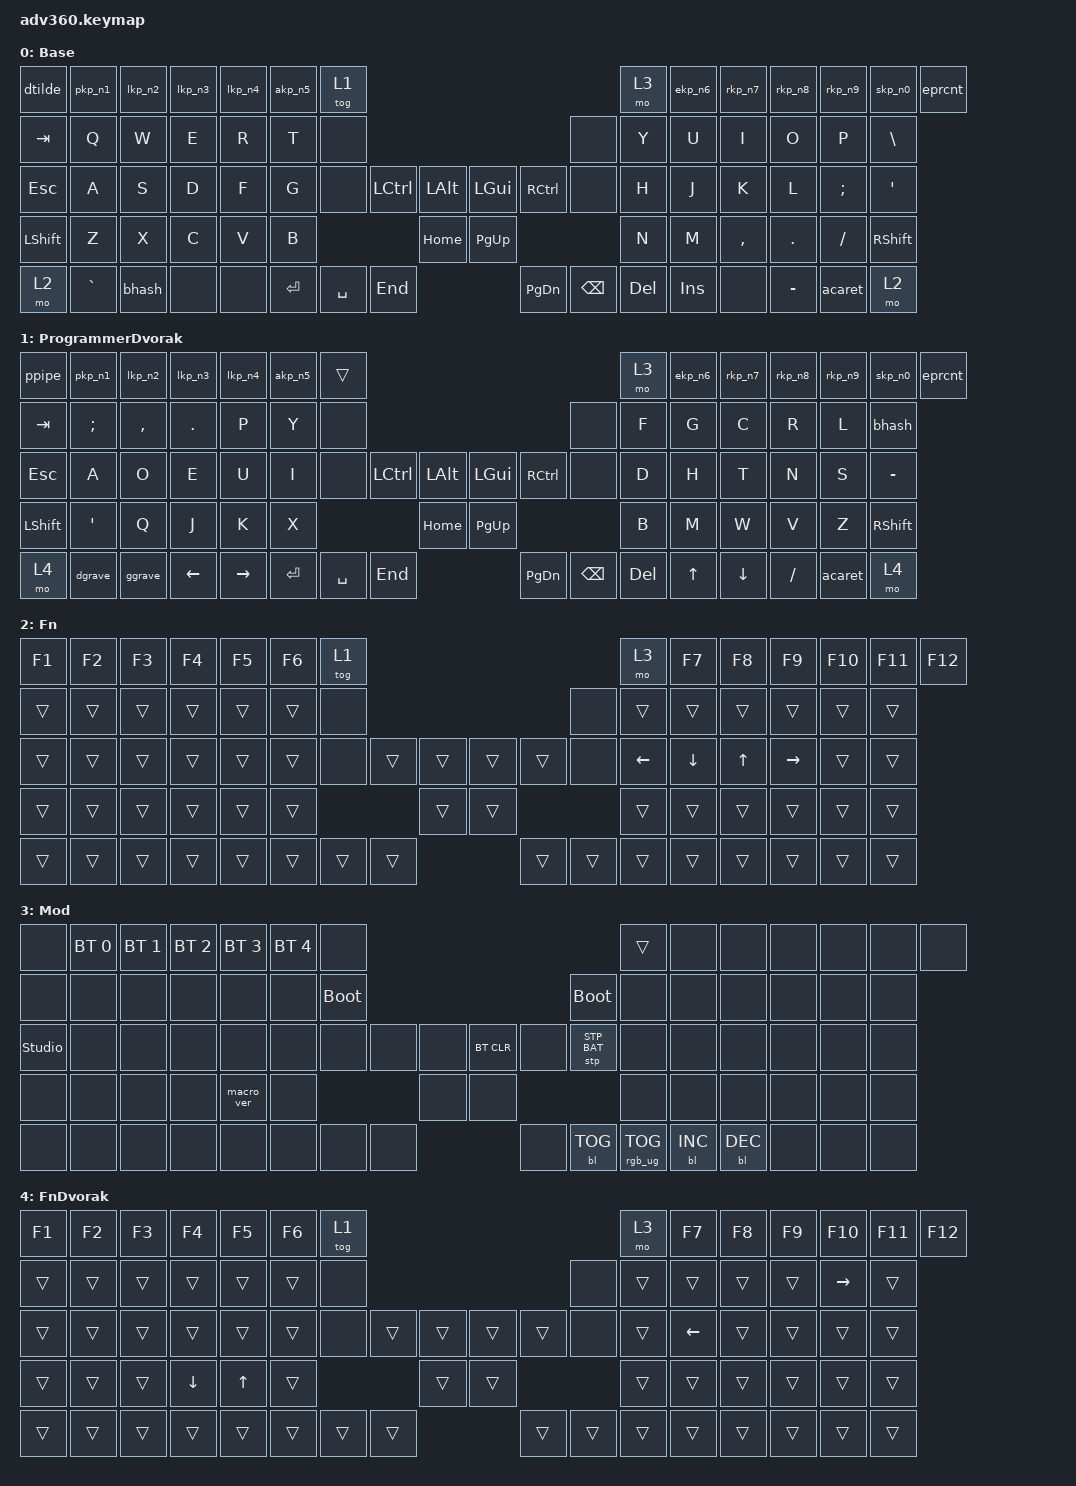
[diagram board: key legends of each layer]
#include <behaviors.dtsi>
#include <dt-bindings/zmk/keys.h>
#include <dt-bindings/zmk/bt.h>
#include <dt-bindings/zmk/rgb.h>
#include <dt-bindings/zmk/stp.h>
#include <dt-bindings/zmk/backlight.h>
#include <dt-bindings/zmk/pointing.h>

/ {
    behaviors {
        #include "macros.dtsi"
        #include "version.dtsi"

        hm: homerow_mods {
            compatible = "zmk,behavior-hold-tap";
            label = "HOMEROW_MODS";
            #binding-cells = <2>;
            tapping-term-ms = <200>;
            quick_tap_ms = <175>;
            flavor = "tap-preferred";
            bindings = <&kp>, <&kp>;
        };
        gpipe: grave_pipe {
            compatible = "zmk,behavior-mod-morph";
            label = "grave_pipe";
            #binding-cells = <0>;
            bindings = <&kp GRAVE>, <&kp PIPE>;
            mods = <(MOD_LGUI|MOD_LSFT|MOD_RGUI|MOD_RSFT)>;
        };
        ppipe: pipe_pipe {
            compatible = "zmk,behavior-mod-morph";
            label = "pipe_pipe";
            #binding-cells = <0>;
            bindings = <&kp PIPE>, <&kp PIPE>;
            mods = <(MOD_LGUI|MOD_LSFT|MOD_RGUI|MOD_RSFT)>;
        };
        pkp_n1: plus_kp_n1 {
            compatible = "zmk,behavior-mod-morph";
            label = "plus_kp_n1";
            #binding-cells = <0>;
            bindings = <&kp PLUS>, <&kp KP_N1>;
            mods = <(MOD_LGUI|MOD_LSFT|MOD_RGUI|MOD_RSFT)>;
        };
        lkp_n2: left_bracket_kp_n2 {
            compatible = "zmk,behavior-mod-morph";
            label = "left_bracket_kp_n2";
            #binding-cells = <0>;
            bindings = <&kp LEFT_BRACKET>, <&kp KP_N2>;
            mods = <(MOD_LGUI|MOD_LSFT|MOD_RGUI|MOD_RSFT)>;
        };
        lkp_n3: left_brace_kp_n3 {
            compatible = "zmk,behavior-mod-morph";
            label = "left_brace_kp_n3";
            #binding-cells = <0>;
            bindings = <&kp LEFT_BRACE>, <&kp KP_N3>;
            mods = <(MOD_LGUI|MOD_LSFT|MOD_RGUI|MOD_RSFT)>;
        };
        lkp_n4: left_parenthesis_kp_n4 {
            compatible = "zmk,behavior-mod-morph";
            label = "left_parenthesis_kp_n4";
            #binding-cells = <0>;
            bindings = <&kp LEFT_PARENTHESIS>, <&kp KP_N4>;
            mods = <(MOD_LGUI|MOD_LSFT|MOD_RGUI|MOD_RSFT)>;
        };
        akp_n5: amps_kp_n5 {
            compatible = "zmk,behavior-mod-morph";
            label = "amps_kp_n5";
            #binding-cells = <0>;
            bindings = <&kp AMPS>, <&kp KP_N5>;
            mods = <(MOD_LGUI|MOD_LSFT|MOD_RGUI|MOD_RSFT)>;
        };
        ekp_n6: equal_kp_n6 {
            compatible = "zmk,behavior-mod-morph";
            label = "equal_kp_n6";
            #binding-cells = <0>;
            bindings = <&kp EQUAL>, <&kp KP_N6>;
            mods = <(MOD_LGUI|MOD_LSFT|MOD_RGUI|MOD_RSFT)>;
        };
        rkp_n7: right_parenthesis_kp_n7 {
            compatible = "zmk,behavior-mod-morph";
            label = "right_parenthesis_kp_n7";
            #binding-cells = <0>;
            bindings = <&kp RIGHT_PARENTHESIS>, <&kp KP_N7>;
            mods = <(MOD_LGUI|MOD_LSFT|MOD_RGUI|MOD_RSFT)>;
        };
        rkp_n8: right_brace_kp_n8 {
            compatible = "zmk,behavior-mod-morph";
            label = "right_brace_kp_n8";
            #binding-cells = <0>;
            bindings = <&kp RIGHT_BRACE>, <&kp KP_N8>;
            mods = <(MOD_LGUI|MOD_LSFT|MOD_RGUI|MOD_RSFT)>;
        };
        rkp_n9: right_bracket_kp_n9 {
            compatible = "zmk,behavior-mod-morph";
            label = "right_bracket_kp_n9";
            #binding-cells = <0>;
            bindings = <&kp RIGHT_BRACKET>, <&kp KP_N9>;
            mods = <(MOD_LGUI|MOD_LSFT|MOD_RGUI|MOD_RSFT)>;
        };
        skp_n0: star_kp_n0 {
            compatible = "zmk,behavior-mod-morph";
            label = "star_kp_n0";
            #binding-cells = <0>;
            bindings = <&kp STAR>, <&kp KP_N0>;
            mods = <(MOD_LGUI|MOD_LSFT|MOD_RGUI|MOD_RSFT)>;
        };
        eprcnt: excl_prcnt {
            compatible = "zmk,behavior-mod-morph";
            label = "excl_prcnt";
            #binding-cells = <0>;
            bindings = <&kp EXCL>, <&kp PRCNT>;
            mods = <(MOD_LGUI|MOD_LSFT|MOD_RGUI|MOD_RSFT)>;
        };

        dgrave: dllr_grave {
            compatible = "zmk,behavior-mod-morph";
            label = "dllr_grave";
            #binding-cells = <0>;
            bindings = <&kp DLLR>, <&kp GRAVE>;
            mods = <(MOD_LGUI|MOD_LSFT|MOD_RGUI|MOD_RSFT)>;
        };
        dtilde: dllr_tilde {
            compatible = "zmk,behavior-mod-morph";
            label = "dllr_tilde";
            #binding-cells = <0>;
            bindings = <&kp DLLR>, <&kp TILDE>;
            mods = <(MOD_LGUI|MOD_LSFT|MOD_RGUI|MOD_RSFT)>;
        };
        ggrave: grave_grave {
            compatible = "zmk,behavior-mod-morph";
            label = "grave_grave";
            #binding-cells = <0>;
            bindings = <&kp GRAVE>, <&kp GRAVE>;
            mods = <(MOD_LGUI|MOD_LSFT|MOD_RGUI|MOD_RSFT)>;
        };
        bhash: bslh_hash {
            compatible = "zmk,behavior-mod-morph";
            label = "bslh_hash";
            #binding-cells = <0>;
            bindings = <&kp BSLH>, <&kp HASH>;
            mods = <(MOD_LGUI|MOD_LSFT|MOD_RGUI|MOD_RSFT)>;
        };
        acaret: at_caret {
            compatible = "zmk,behavior-mod-morph";
            label = "at_caret";
            #binding-cells = <0>;
            bindings = <&kp AT>, <&kp CARET>;
            mods = <(MOD_LGUI|MOD_LSFT|MOD_RGUI|MOD_RSFT)>;
        };
    };

  keymap {
    compatible = "zmk,keymap";

    default_layer {
      display-name = "Base";
      bindings = <
        &dtilde   &pkp_n1   &lkp_n2  &lkp_n3  &lkp_n4   &akp_n5 &tog 1                                                           &mo 3 &ekp_n6  &rkp_n7  &rkp_n8   &rkp_n9   &skp_n0  &eprcnt
        &kp TAB   &kp Q     &kp W    &kp E    &kp R     &kp T  &none                                                          &none &kp Y  &kp U  &kp I     &kp O    &kp P    &kp BSLH
        &kp ESC   &kp A     &kp S    &kp D    &kp F     &kp G  &none            &kp LCTRL &kp LALT &kp LGUI  &kp RCTRL        &none &kp H  &kp J  &kp K     &kp L    &kp SEMI &kp SQT
        &kp LSHFT &kp Z     &kp X    &kp C    &kp V     &kp B                             &kp HOME &kp PG_UP                        &kp N  &kp M  &kp COMMA &kp DOT  &kp FSLH &kp RSHFT
        &mo 2     &kp GRAVE &bhash   &none &none                &kp ENTER   &kp SPACE &kp END  &kp PG_DN &kp BSPC &kp DEL           &kp INS   &none       &kp MINUS  &acaret  &mo 2
      >;
    };
    prog_dvorak_layer {
      display-name = "ProgrammerDvorak";
      bindings = <
        &ppipe    &pkp_n1  &lkp_n2   &lkp_n3  &lkp_n4   &akp_n5 &trans                                                           &mo 3 &ekp_n6  &rkp_n7  &rkp_n8   &rkp_n9   &skp_n0  &eprcnt
        &kp TAB   &kp SEMI &kp COMMA &kp DOT  &kp P     &kp Y   &none                                                            &none &kp F    &kp G    &kp C     &kp R     &kp L    &bhash
        &kp ESC   &kp A    &kp O     &kp E    &kp U     &kp I   &none              &kp LCTRL &kp LALT &kp LGUI  &kp RCTRL        &none &kp D    &kp H    &kp T     &kp N     &kp S    &kp MINUS
        &kp LSHFT &kp APOS &kp Q     &kp J    &kp K     &kp X                                &kp HOME &kp PG_UP                        &kp B    &kp M    &kp W     &kp V     &kp Z    &kp RSHFT
        &mo 4     &dgrave  &ggrave   &kp LEFT &kp RIGHT                &kp ENTER   &kp SPACE &kp END  &kp PG_DN &kp BSPC &kp DEL                &kp UP   &kp DOWN  &kp FSLH  &acaret  &mo 4
      >;
    };
    fn {
      display-name = "Fn";
      bindings = <
        &kp F1 &kp F2 &kp F3 &kp F4 &kp F5 &kp F6 &tog 1                                           &mo 3 &kp F7 &kp F8 &kp F9 &kp F10 &kp F11 &kp F12
        &trans &trans &trans &trans &trans &trans &none                                            &none &trans &trans &trans &trans  &trans  &trans
        &trans &trans &trans &trans &trans &trans &none         &trans &trans &trans &trans        &none &kp LEFT  &kp DOWN  &kp UP    &kp RIGHT  &trans  &trans
        &trans &trans &trans &trans &trans &trans                      &trans &trans                     &trans &trans &trans &trans  &trans  &trans
        &trans &trans &trans &trans &trans               &trans &trans &trans &trans &trans &trans              &trans &trans &trans  &trans  &trans
      >;
    };
    mod {
      display-name = "Mod";
      bindings = <
        &none &bt BT_SEL 0 &bt BT_SEL 1 &bt BT_SEL 2 &bt BT_SEL 3 &bt BT_SEL 4 &none                                                                     &trans                 &none        &none        &none        &none &none &none
        &none &none        &none        &none        &none        &none        &bootloader                                                               &bootloader            &none        &none        &none        &none &none &none
        &studio_unlock &none        &none        &none        &none        &none        &none                   &none &none &bt BT_CLR &none                      &stp STP_BAT &none        &none        &none        &none &none &none
        &none &none        &none        &none        &macro_ver   &none                                      &none &none                                                        &none        &none        &none        &none &none &none
        &none &none        &none        &none        &none                                       &none &none &none &none      &bl BL_TOG &rgb_ug RGB_TOG                                     &bl BL_INC   &bl BL_DEC   &none &none &none
      >;
    };
    fn_dvorak {
      display-name = "FnDvorak";
      bindings = <
        &kp F1 &kp F2 &kp F3 &kp F4 &kp F5 &kp F6 &tog 1                                           &mo 3 &kp F7 &kp F8 &kp F9 &kp F10 &kp F11 &kp F12
        &trans &trans &trans &trans &trans &trans &none                                            &none &trans &trans &trans &trans  &kp RIGHT  &trans
        &trans &trans &trans &trans &trans &trans &none         &trans &trans &trans &trans        &none &trans &kp LEFT  &trans &trans  &trans  &trans
        &trans &trans &trans &kp DOWN  &kp UP    &trans                      &trans &trans                     &trans &trans &trans &trans  &trans  &trans
        &trans &trans &trans &trans &trans               &trans &trans &trans &trans &trans &trans              &trans &trans &trans  &trans  &trans
      >;
    };
    extra1 {
      display-name = "Red";
      status = "reserved";
    };

    extra2 {
      display-name = "Purple";
      status = "reserved";
    };

    extra3 {
      display-name = "Cyan";
      status = "reserved";
    };

    extra4 {
      display-name = "Yellow";
      status = "reserved";
    };
  };
};
